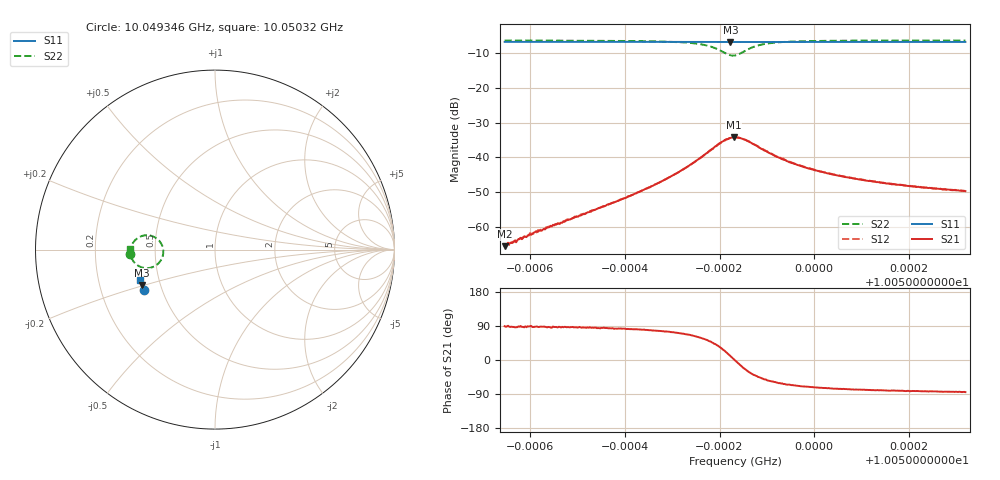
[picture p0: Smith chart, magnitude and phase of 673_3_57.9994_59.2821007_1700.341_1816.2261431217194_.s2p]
#  HZ  S  RI  R  50.00
! Rohde & Schwarz Vector Network Analyzer
! Rohde-Schwarz,ZNB20-2Port,1311601062101988,3.16
! Created: UTC 3/21/2024, 1:20:27 AM
! freq[Hz]  re:S11  im:S11  re:S21  im:S21  re:S12  im:S12  re:S22  im:S22
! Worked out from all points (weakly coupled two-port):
!   401 points, 10.049346 GHz to 10.05032 GHz, reference 50 ohm
!   highest |S21| = -34.19 dB at 10.04983 GHz (marker M1); lowest = -65.5 dB at 10.049346 GHz (marker M2)
!   lowest |S11| = -6.9 dB at 10.049823 GHz (marker M3), VSWR 2.64, Z = 19.8 - j9.84 ohm
!   |S11| at or under -10 dB: nowhere
!   |S22| runs from -10.8 to -6.5 dB; largest |S21 - S12| = 0.0016
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1.00493459e10  -0.3933 -0.2272  7.78e-06 0.000532  -7.45e-06 0.000544  -0.4741 -0.0218
1.00494043e10  -0.3952 -0.2236  3.91e-05 0.000795  -1.09e-05 0.000795  -0.4735 -0.0155
1.00494091e10  -0.3953 -0.2235  3.57e-05 0.000839  -1.75e-05 0.000837  -0.4737 -0.015
1.00494213e10  -0.3958 -0.2227  3.06e-05 0.00089  -1.17e-05 0.000903  -0.4734 -0.0133
1.0049509e10  -0.3984 -0.2174  0.000128 0.00149  1.64e-05 0.00152  -0.472 -0.00206
1.00496088e10  -0.4013 -0.2114  0.000408 0.00275  0.000212 0.00275  -0.4675 0.0162
1.00496721e10  -0.4031 -0.2076  0.000984 0.00421  0.000716 0.00428  -0.4596 0.0335
1.00497183e10  -0.4043 -0.2045  0.00219 0.00605  0.00182 0.00616  -0.4454 0.0523
1.00497646e10  -0.4054 -0.2015  0.00575 0.00874  0.00515 0.00899  -0.4076 0.0759
1.00497987e10  -0.4056 -0.1992  0.0128 0.00918  0.0119 0.00984  -0.3416 0.0718
1.0049823e10  -0.4054 -0.1983  0.0187 0.00341  0.0184 0.00495  -0.2913 0.013
1.00498303e10  -0.4055 -0.1981  0.0195 0.000509  0.0192 0.0021  -0.2881 -0.0144
1.00498327e10  -0.4057 -0.198  0.0195 -0.000353  0.0193 0.00114  -0.2887 -0.0237
1.00498449e10  -0.406 -0.1978  0.0182 -0.00479  0.0186 -0.00342  -0.3053 -0.065
1.00498595e10  -0.4066 -0.1973  0.0149 -0.0084  0.0157 -0.00726  -0.3405 -0.0946
1.00498936e10  -0.4082 -0.1957  0.00804 -0.00977  0.00897 -0.00933  -0.4096 -0.0983
1.00499204e10  -0.4093 -0.1941  0.00522 -0.00879  0.00585 -0.00852  -0.4368 -0.0836
1.00499472e10  -0.4102 -0.1923  0.00364 -0.0077  0.00415 -0.00767  -0.4512 -0.0695
1.00499959e10  -0.4117 -0.1892  0.00214 -0.00638  0.00253 -0.0063  -0.4639 -0.0499
1.00500665e10  -0.4134 -0.1849  0.0012 -0.00507  0.0015 -0.00504  -0.4707 -0.0314
1.0050159e10  -0.4159 -0.1793  0.000665 -0.00411  0.000947 -0.00411  -0.4739 -0.0152
1.00503196e10  -0.4197 -0.1694  0.0003 -0.00326  0.000536 -0.00326  -0.4753 0.0041
